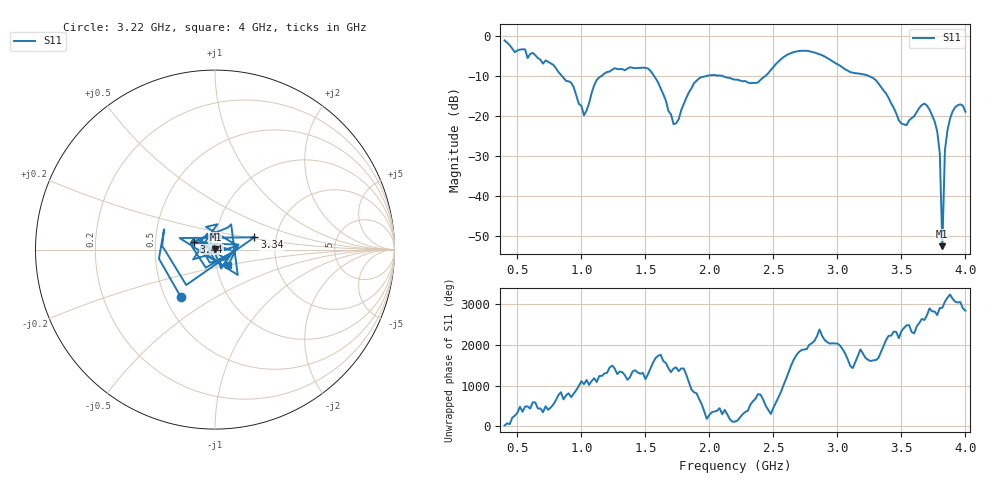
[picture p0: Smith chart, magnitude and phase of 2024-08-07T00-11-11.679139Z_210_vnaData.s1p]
!Created with skrf (http://scikit-rf.org).
# Hz S RI R 50.0
!freq ReS11 ImS11
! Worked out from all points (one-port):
!   181 points, 400 MHz to 4 GHz, reference 50 ohm
!   lowest |S11| = -52.6 dB at 3.82 GHz (marker M1), VSWR 1.00, Z = 50.2 + j0.0916 ohm
!   |S11| at or under -10 dB: 1.566 GHz to 1.987 GHz (420.4 MHz wide, 23.7 % of centre); 2.095 GHz to 2.441 GHz (345.9 MHz wide, 15.3 % of centre); 3.24 GHz to end of sweep (the widest 3 of 4)
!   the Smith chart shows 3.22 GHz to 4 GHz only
!   S11 on the Smith chart (normalised r, x): 3.22 GHz: 0.60, -0.35; 3.34 GHz: 1.54, +0.22; 3.44 GHz: 0.79, +0.07; 4 GHz: 1.14, -0.19
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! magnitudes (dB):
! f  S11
! 400 MHz  -1.2
! 860 MHz  -10.5
! 940 MHz  -12.9
! 1.02 GHz  -19.9
! 1.12 GHz  -11.0
! 1.3 GHz  -8.4
! 1.52 GHz  -8.2
! 1.6 GHz  -11.7
! 1.72 GHz  -22.1
! 1.76 GHz  -20.9
! 1.92 GHz  -10.7
! 2.2 GHz  -11.0
! 2.38 GHz  -11.7
! 2.66 GHz  -4.1
! 3.1 GHz  -9.1
! 3.22 GHz  -9.8
! 3.34 GHz  -12.8
! 3.44 GHz  -18.0
! 3.5 GHz  -21.9
! 3.56 GHz  -21.2
! 3.68 GHz  -17.0
! 3.76 GHz  -21.4
! 3.8 GHz  -29.4
! 3.82 GHz  -52.6
! 3.84 GHz  -28.7
! 3.86 GHz  -23.6
! 3.92 GHz  -17.9
! 4 GHz  -19.0
